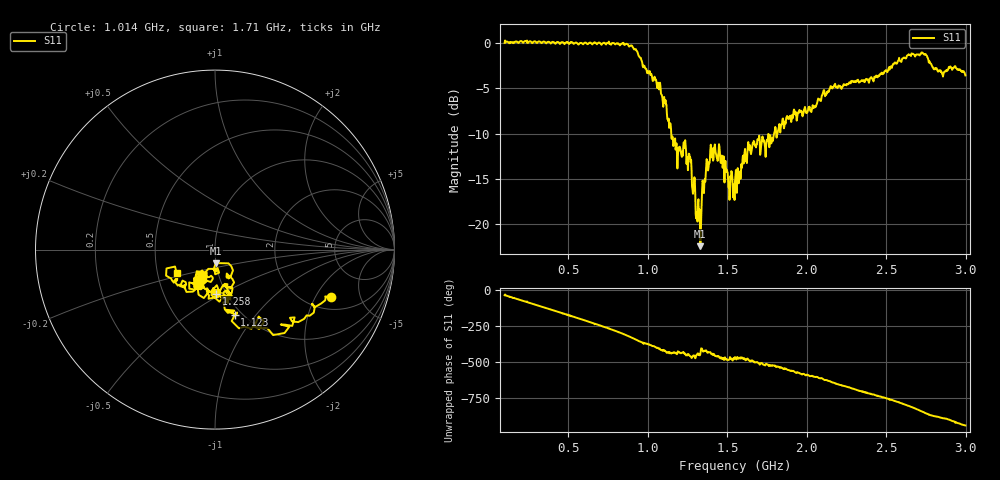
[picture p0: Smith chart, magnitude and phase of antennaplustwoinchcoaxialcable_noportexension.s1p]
# HZ S RI R 50
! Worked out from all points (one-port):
!   1009 points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, 100 MHz to 2.997 GHz, reference 50 ohm
!   lowest |S11| = -22.4 dB at 1.33 GHz (marker M1), VSWR 1.16, Z = 49.9 - j7.58 ohm
!   |S11| at or under -10 dB: 1.148 GHz to 1.794 GHz (646.4 MHz wide, 43.9 % of centre); 1.808037 GHz to 1.812744 GHz (4.707 MHz wide, 0.26 % of centre); 1.815691 GHz to 1.815879 GHz (188 kHz wide, 0.0104 % of centre)
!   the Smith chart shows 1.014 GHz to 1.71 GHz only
!   S11 on the Smith chart (normalised r, x): 1.014 GHz: 2.64, -2.71; 1.123 GHz: 0.92, -0.79; 1.258 GHz: 0.89, -0.47; 1.71 GHz: 0.63, -0.18
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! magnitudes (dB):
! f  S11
! 100 MHz  0.0
! 462.1 MHz  0.1
! 824.3 MHz  -0.2
! 913.4 MHz  -0.7
! 1.014 GHz  -3.1
! 1.077 GHz  -4.4
! 1.123 GHz  -8.4
! 1.186 GHz  -13.8
! 1.227 GHz  -10.9
! 1.258 GHz  -12.2
! 1.319 GHz  -17.2
! 1.33 GHz  -22.4
! 1.344 GHz  -15.2
! 1.359 GHz  -15.0
! 1.408 GHz  -11.6
! 1.462 GHz  -12.6
! 1.508 GHz  -15.9
! 1.549 GHz  -15.3
! 1.62 GHz  -12.9
! 1.71 GHz  -12.0
! 1.778 GHz  -11.0
! 1.911 GHz  -8.3
! 2.273 GHz  -4.4
! 2.431 GHz  -3.8
! 2.635 GHz  -1.3
! 2.736 GHz  -1.2
! 2.842 GHz  -3.0
! 2.997 GHz  -3.6
